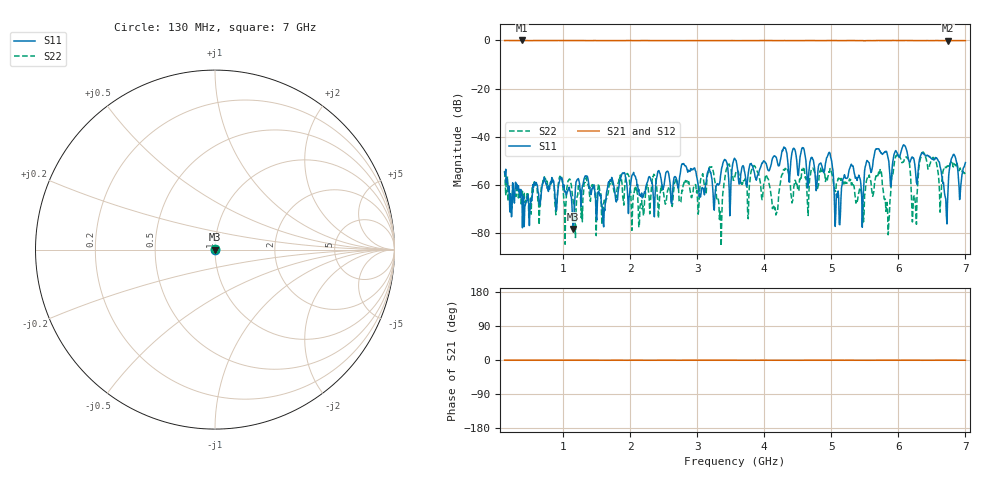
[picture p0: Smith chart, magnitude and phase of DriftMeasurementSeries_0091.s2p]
# Hz S RI R 50.000000
! Metas.Vna.Tools, 2.8.8664.20301
! Metas.Vna.Data, 2.8.8664.20285
! Created: UTC 2024.02.11 10:08:50
! FREQ  re:S1,1  im:S1,1  re:S2,1  im:S2,1  re:S1,2  im:S1,2  re:S2,2  im:S2,2
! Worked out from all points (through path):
!   801 points, 130 MHz to 7 GHz, reference 50 ohm
!   highest |S21| = -0.03 dB at 387.6 MHz (marker M1); lowest = -0.2 dB at 6.734 GHz (marker M2)
!   lowest |S11| = -78.1 dB at 1.152 GHz (marker M3), VSWR 1.00, Z = 50 - j0.00451 ohm
!   |S11| at or under -10 dB: start of sweep to end of sweep
!   |S22| runs from -85.3 to -46.3 dB; largest |S21 - S12| = 0.017
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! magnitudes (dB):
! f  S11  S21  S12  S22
! 130 MHz  -54.6  -0.1  0.0  -54.3
! 387.6 MHz  -63.5  0.0  0.0  -64.8
! 1.152 GHz  -78.1  -0.1  0.0  -66.4
! 1.281 GHz  -62.6  -0.1  0.0  -69.0
! 2.423 GHz  -54.0  -0.1  0.0  -73.6
! 3.204 GHz  -54.7  -0.1  0.0  -52.6
! 3.342 GHz  -58.3  -0.1  0.0  -70.8
! 3.565 GHz  -49.1  -0.1  0.0  -56.1
! 4.166 GHz  -48.2  -0.1  0.0  -69.9
! 4.312 GHz  -44.5  -0.1  0.0  -53.1
! 4.716 GHz  -48.5  -0.1  0.0  -53.1
! 4.973 GHz  -46.4  -0.1  0.0  -54.6
! 5.094 GHz  -63.5  -0.1  0.0  -58.3
! 5.72 GHz  -45.8  -0.1  0.0  -55.2
! 5.858 GHz  -50.0  -0.1  0.0  -75.4
! 5.987 GHz  -46.9  -0.1  0.0  -47.0
! 6.141 GHz  -47.9  -0.1  0.0  -48.7
! 6.236 GHz  -49.6  -0.1  0.0  -64.4
! 6.356 GHz  -46.5  -0.1  0.0  -46.4
! 6.734 GHz  -66.7  -0.2  0.0  -52.2
! 6.811 GHz  -47.8  -0.1  0.0  -51.8
! 7 GHz  -50.6  -0.1  0.0  -54.6
